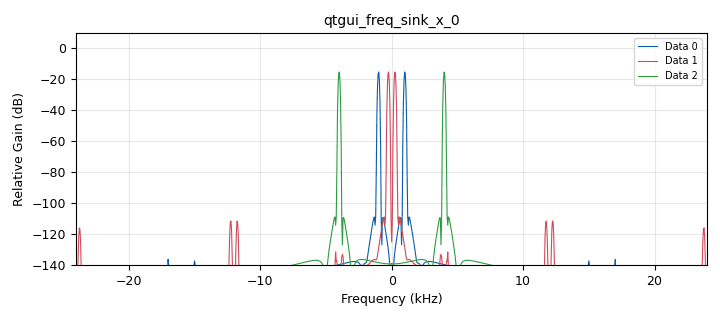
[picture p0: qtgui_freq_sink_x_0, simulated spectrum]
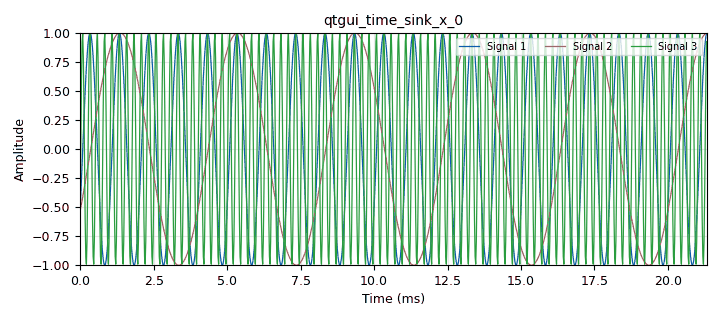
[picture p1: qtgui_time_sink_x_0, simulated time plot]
options:
  parameters:
    generate_options: qt_gui
    id: interpolation
    output_language: python
    title: Not titled yet
  states: {}

blocks:
- name: samp_rate
  id: variable
  parameters:
    value: '48000'
  states: {}
- name: analog_sig_source_x_0
  id: analog_sig_source_x
  parameters:
    amp: '1'
    freq: '1000'
    offset: '0'
    phase: '0'
    samp_rate: samp_rate
    type: float
    waveform: analog.GR_COS_WAVE
  states: {}
- name: analog_sig_source_x_1
  id: analog_sig_source_x
  parameters:
    amp: '1'
    freq: '1000'
    offset: '0'
    phase: '0'
    samp_rate: samp_rate
    type: float
    waveform: analog.GR_COS_WAVE
  states: {}
- name: analog_sig_source_x_2
  id: analog_sig_source_x
  parameters:
    amp: '1'
    freq: '1000'
    offset: '0'
    phase: '0'
    samp_rate: samp_rate
    type: float
    waveform: analog.GR_COS_WAVE
  states: {}
- name: blocks_throttle_0
  id: blocks_throttle
  parameters:
    samples_per_second: samp_rate
    type: float
  states: {}
- name: qtgui_freq_sink_x_0
  id: qtgui_freq_sink_x
  parameters:
    average: '0.2'
    bw: samp_rate
    fc: '0'
    fftsize: '1024'
    gui_hint: tabs@1
    nconnections: '3'
    type: float
    wintype: firdes.WIN_BLACKMAN_hARRIS
  states: {}
- name: qtgui_time_sink_x_0
  id: qtgui_time_sink_x
  parameters:
    gui_hint: tabs@0
    nconnections: '3'
    size: '1024'
    srate: samp_rate
    type: float
  states: {}
- name: rational_resampler_xxx_0
  id: rational_resampler_xxx
  parameters:
    decim: '1'
    interp: '1'
    taps: ''
    type: fff
  states: {}
- name: rational_resampler_xxx_1
  id: rational_resampler_xxx
  parameters:
    decim: '1'
    interp: '4'
    taps: ''
    type: fff
  states: {}
- name: rational_resampler_xxx_2
  id: rational_resampler_xxx
  parameters:
    decim: '4'
    interp: '1'
    taps: ''
    type: fff
  states: {}
- name: tabs
  id: qtgui_tab_widget
  parameters:
    label0: Frequency
    label1: Time
    num_tabs: '2'
  states: {}

connections:
- [analog_sig_source_x_0, '0', rational_resampler_xxx_0, '0']
- [analog_sig_source_x_1, '0', rational_resampler_xxx_1, '0']
- [analog_sig_source_x_2, '0', rational_resampler_xxx_2, '0']
- [blocks_throttle_0, '0', qtgui_freq_sink_x_0, '0']
- [blocks_throttle_0, '0', qtgui_time_sink_x_0, '0']
- [rational_resampler_xxx_0, '0', blocks_throttle_0, '0']
- [rational_resampler_xxx_1, '0', qtgui_freq_sink_x_0, '1']
- [rational_resampler_xxx_1, '0', qtgui_time_sink_x_0, '1']
- [rational_resampler_xxx_2, '0', qtgui_freq_sink_x_0, '2']
- [rational_resampler_xxx_2, '0', qtgui_time_sink_x_0, '2']

metadata:
  file_format: 1
